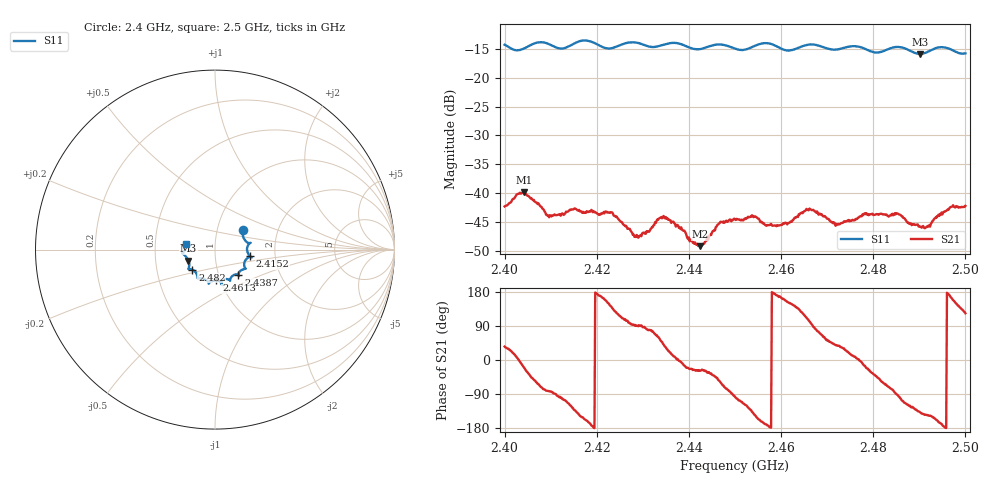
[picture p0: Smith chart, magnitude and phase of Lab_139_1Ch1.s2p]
# Hz S RI R 50
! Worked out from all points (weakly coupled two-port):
!   601 points, 2.4 GHz to 2.5 GHz, reference 50 ohm
!   highest |S21| = -39.83 dB at 2.4042 GHz (marker M1); lowest = -49.2 dB at 2.4425 GHz (marker M2)
!   lowest |S11| = -15.9 dB at 2.4902 GHz (marker M3), VSWR 1.38, Z = 36.9 - j4.64 ohm
!   |S11| at or under -10 dB: start of sweep to end of sweep
!   S12 and S22 are empty: the file has one direction only
!   S11 on the Smith chart (normalised r, x): 2.4 GHz: 1.33, +0.31; 2.4152 GHz: 1.48, -0.11; 2.4387 GHz: 1.24, -0.36; 2.4613 GHz: 0.96, -0.34; 2.482 GHz: 0.76, -0.17; 2.5 GHz: 0.72, +0.05
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2.4e9  0.1574 0.111  0.00626 0.00445  0 0  0 0
2.404167e9  0.1723 0.0465  0.00966 -0.00326  0 0  0 0
2.409667e9  0.1916 0.0341  0.000794 -0.00614  0 0  0 0
2.415167e9  0.1941 -0.0371  -0.00495 -0.00549  0 0  0 0
2.416667e9  0.2037 -0.0436  -0.00604 -0.00342  0 0  0 0
2.423e9  0.1639 -0.0721  -0.00544 0.00417  0 0  0 0
2.428667e9  0.1699 -0.1065  -3.55e-05 0.00435  0 0  0 0
2.433333e9  0.1321 -0.1322  0.00287 0.00516  0 0  0 0
2.438667e9  0.1301 -0.1414  0.00471 -0.000833  0 0  0 0
2.4425e9  0.0944 -0.1492  0.00307 -0.00164  0 0  0 0
2.446667e9  0.0842 -0.1743  0.0031 -0.00456  0 0  0 0
2.45e9  0.0686 -0.1646  -0.000756 -0.0059  0 0  0 0
2.454167e9  0.0342 -0.1841  -0.00504 -0.0037  0 0  0 0
2.456833e9  0.0386 -0.1947  -0.00515 -0.000882  0 0  0 0
2.461333e9  0.0082 -0.1714  -0.00479 0.00243  0 0  0 0
2.466667e9  -0.0347 -0.1904  -0.000524 0.00712  0 0  0 0
2.472333e9  -0.0703 -0.1606  0.00426 0.00326  0 0  0 0
2.482e9  -0.126 -0.1115  0.00348 -0.00557  0 0  0 0
2.483333e9  -0.1397 -0.1085  0.00202 -0.00594  0 0  0 0
2.490167e9  -0.1481 -0.0613  -0.0038 -0.00342  0 0  0 0
2.494833e9  -0.1822 -0.0202  -0.00668 -0.00137  0 0  0 0
2.5e9  -0.1588 0.0325  -0.00427 0.00648  0 0  0 0
